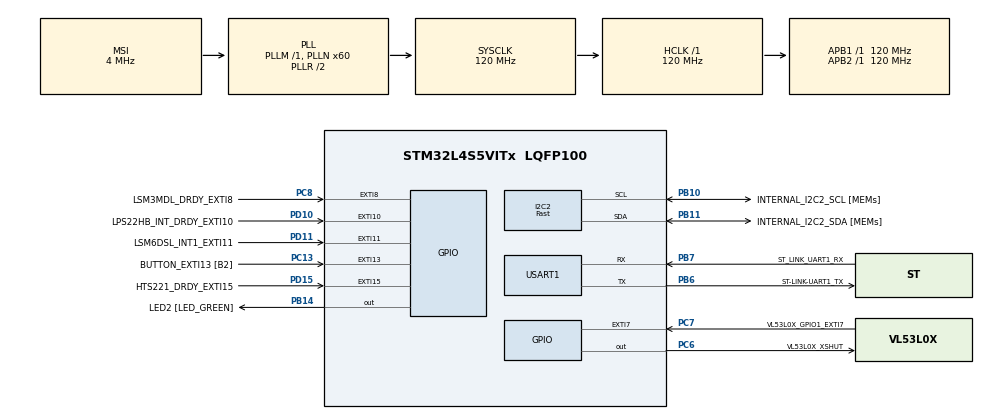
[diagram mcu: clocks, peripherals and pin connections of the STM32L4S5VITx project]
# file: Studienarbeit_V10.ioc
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Dma.I2C2_RX.0.Direction=DMA_PERIPH_TO_MEMORY
Dma.I2C2_RX.0.EventEnable=DISABLE
Dma.I2C2_RX.0.Instance=DMA1_Channel1
Dma.I2C2_RX.0.MemDataAlignment=DMA_MDATAALIGN_BYTE
Dma.I2C2_RX.0.MemInc=DMA_MINC_ENABLE
Dma.I2C2_RX.0.Mode=DMA_NORMAL
Dma.I2C2_RX.0.PeriphDataAlignment=DMA_PDATAALIGN_BYTE
Dma.I2C2_RX.0.PeriphInc=DMA_PINC_DISABLE
Dma.I2C2_RX.0.Polarity=HAL_DMAMUX_REQUEST_GEN_RISING
Dma.I2C2_RX.0.Priority=DMA_PRIORITY_LOW
Dma.I2C2_RX.0.RequestNumber=1
Dma.I2C2_RX.0.SignalID=NONE
Dma.I2C2_RX.0.SyncEnable=DISABLE
Dma.I2C2_RX.0.SyncPolarity=HAL_DMAMUX_SYNC_NO_EVENT
Dma.I2C2_RX.0.SyncRequestNumber=1
Dma.I2C2_RX.0.SyncSignalID=NONE
Dma.I2C2_TX.1.Direction=DMA_MEMORY_TO_PERIPH
Dma.I2C2_TX.1.EventEnable=DISABLE
Dma.I2C2_TX.1.Instance=DMA1_Channel2
Dma.I2C2_TX.1.MemDataAlignment=DMA_MDATAALIGN_BYTE
Dma.I2C2_TX.1.MemInc=DMA_MINC_ENABLE
Dma.I2C2_TX.1.Mode=DMA_NORMAL
Dma.I2C2_TX.1.PeriphDataAlignment=DMA_PDATAALIGN_BYTE
Dma.I2C2_TX.1.PeriphInc=DMA_PINC_DISABLE
Dma.I2C2_TX.1.Polarity=HAL_DMAMUX_REQUEST_GEN_RISING
Dma.I2C2_TX.1.Priority=DMA_PRIORITY_LOW
Dma.I2C2_TX.1.RequestNumber=1
Dma.I2C2_TX.1.SignalID=NONE
Dma.I2C2_TX.1.SyncEnable=DISABLE
Dma.I2C2_TX.1.SyncPolarity=HAL_DMAMUX_SYNC_NO_EVENT
Dma.I2C2_TX.1.SyncRequestNumber=1
Dma.I2C2_TX.1.SyncSignalID=NONE
Dma.Request0=I2C2_RX
Dma.Request1=I2C2_TX
Dma.Request2=USART1_RX
Dma.Request3=USART1_TX
Dma.USART1_RX.2.Direction=DMA_PERIPH_TO_MEMORY
Dma.USART1_RX.2.EventEnable=DISABLE
Dma.USART1_RX.2.Instance=DMA1_Channel3
Dma.USART1_RX.2.MemDataAlignment=DMA_MDATAALIGN_BYTE
Dma.USART1_RX.2.MemInc=DMA_MINC_ENABLE
Dma.USART1_RX.2.Mode=DMA_NORMAL
Dma.USART1_RX.2.PeriphDataAlignment=DMA_PDATAALIGN_BYTE
Dma.USART1_RX.2.PeriphInc=DMA_PINC_DISABLE
Dma.USART1_RX.2.Polarity=HAL_DMAMUX_REQUEST_GEN_RISING
Dma.USART1_RX.2.Priority=DMA_PRIORITY_LOW
Dma.USART1_RX.2.RequestNumber=1
Dma.USART1_RX.2.SignalID=NONE
Dma.USART1_RX.2.SyncEnable=DISABLE
Dma.USART1_RX.2.SyncPolarity=HAL_DMAMUX_SYNC_NO_EVENT
Dma.USART1_RX.2.SyncRequestNumber=1
Dma.USART1_RX.2.SyncSignalID=NONE
Dma.USART1_TX.3.Direction=DMA_MEMORY_TO_PERIPH
Dma.USART1_TX.3.EventEnable=DISABLE
Dma.USART1_TX.3.Instance=DMA1_Channel4
Dma.USART1_TX.3.MemDataAlignment=DMA_MDATAALIGN_BYTE
Dma.USART1_TX.3.MemInc=DMA_MINC_ENABLE
Dma.USART1_TX.3.Mode=DMA_NORMAL
Dma.USART1_TX.3.PeriphDataAlignment=DMA_PDATAALIGN_BYTE
Dma.USART1_TX.3.PeriphInc=DMA_PINC_DISABLE
Dma.USART1_TX.3.Polarity=HAL_DMAMUX_REQUEST_GEN_RISING
Dma.USART1_TX.3.Priority=DMA_PRIORITY_LOW
Dma.USART1_TX.3.RequestNumber=1
Dma.USART1_TX.3.SignalID=NONE
Dma.USART1_TX.3.SyncEnable=DISABLE
Dma.USART1_TX.3.SyncPolarity=HAL_DMAMUX_SYNC_NO_EVENT
Dma.USART1_TX.3.SyncRequestNumber=1
Dma.USART1_TX.3.SyncSignalID=NONE
FREERTOS.BinarySemaphores01=I2C2available,Dynamic,NULL,Available;UART1available,Dynamic,NULL,Available
FREERTOS.Tasks01=defaultTask,24,128,StartDefaultTask,Default,NULL,Dynamic,NULL,NULL;IMUTask,24,256,IMU_Task,Default,NULL,Dynamic,NULL,NULL;MagnetoTask,24,256,Magneto_Task,Default,NULL,Dynamic,NULL,NULL;ToFTask,24,256,ToF_Task,Default,NULL,Dynamic,NULL,NULL;BaroTask,24,256,Baro_Task,Default,NULL,Dynamic,NULL,NULL;HumidityTask,24,256,Humidity_Task,Default,NULL,Dynamic,NULL,NULL;InitTask,25,512,Init_Task,Default,NULL,Dynamic,NULL,NULL;DataTransmitTas,22,128,Data_Transmit_Task,Default,NULL,Dynamic,NULL,NULL;DataFilterTask,23,256,Data_Filter_Task,Default,NULL,Dynamic,NULL,NULL
FREERTOS.configENABLE_FPU=1
FREERTOS.configGENERATE_RUN_TIME_STATS=1
FREERTOS.configTOTAL_HEAP_SIZE=11000
FREERTOS.configUSE_NEWLIB_REENTRANT=1
FREERTOS.configUSE_STATS_FORMATTING_FUNCTIONS=1
I2C2.I2C_Speed_Mode=I2C_Fast
I2C2.Timing=0x10B21F61
Mcu.Family=STM32L4
Mcu.Name=STM32L4S5VITx
Mcu.Package=LQFP100
NVIC.DMA1_Channel1_IRQn=true\:7\:0\:true\:false\:true\:true\:false\:true\:true
NVIC.DMA1_Channel2_IRQn=true\:8\:0\:true\:false\:true\:true\:false\:true\:true
NVIC.DMA1_Channel3_IRQn=true\:11\:0\:true\:false\:true\:true\:false\:true\:true
NVIC.DMA1_Channel4_IRQn=true\:11\:0\:true\:false\:true\:true\:false\:true\:true
NVIC.EXTI15_10_IRQn=true\:10\:0\:true\:false\:true\:true\:true\:true\:false
NVIC.EXTI9_5_IRQn=true\:10\:0\:true\:false\:true\:true\:true\:true\:false
NVIC.I2C2_EV_IRQn=true\:6\:0\:true\:false\:true\:true\:true\:true\:true
NVIC.PriorityGroup=NVIC_PRIORITYGROUP_4
NVIC.TIM1_TRG_COM_TIM17_IRQn=true\:15\:0\:false\:false\:true\:false\:false\:true\:true
NVIC.TimeBase=TIM1_TRG_COM_TIM17_IRQn
NVIC.TimeBaseIP=TIM17
NVIC.USART1_IRQn=true\:6\:0\:true\:false\:true\:true\:true\:true\:true
PA13\ (JTMS/SWDIO).GPIO_Label=SYS_JTMS_SWDIO
PA13\ (JTMS/SWDIO).Mode=Serial_Wire
PA13\ (JTMS/SWDIO).Signal=SYS_JTMS-SWDIO
PA14\ (JTCK/SWCLK).GPIO_Label=SYS_JTCK_SWCLK
PA14\ (JTCK/SWCLK).Mode=Serial_Wire
PA14\ (JTCK/SWCLK).Signal=SYS_JTCK-SWCLK
PB10.GPIO_Label=INTERNAL_I2C2_SCL [MEMs]
PB10.GPIO_Mode=GPIO_MODE_AF_OD
PB10.GPIO_Pu=GPIO_PULLUP
PB10.GPIO_Speed=GPIO_SPEED_FREQ_VERY_HIGH
PB10.Mode=I2C
PB10.Signal=I2C2_SCL
PB11.GPIO_Label=INTERNAL_I2C2_SDA [MEMs]
PB11.GPIO_Mode=GPIO_MODE_AF_OD
PB11.GPIO_Pu=GPIO_PULLUP
PB11.GPIO_Speed=GPIO_SPEED_FREQ_VERY_HIGH
PB11.Mode=I2C
PB11.Signal=I2C2_SDA
PB14.GPIO_Label=LED2 [LED_GREEN]
PB14.GPIO_ModeDefaultOutputPP=GPIO_MODE_OUTPUT_PP
PB14.GPIO_PuPd=GPIO_NOPULL
PB14.GPIO_Speed=GPIO_SPEED_FREQ_LOW
PB14.PinState=GPIO_PIN_RESET
PB14.Signal=GPIO_Output
PB3\ (JTDO/TRACESWO).GPIO_Label=SYS_JTD0_SWO
PB3\ (JTDO/TRACESWO).Signal=SYS_JTDO-SWO
PB6.GPIO_FM6=__NULL
PB6.GPIO_Label=ST-LINK-UART1_TX
PB6.GPIO_ModeDefaultPP=GPIO_MODE_AF_PP
PB6.GPIO_PuPd=GPIO_NOPULL
PB6.GPIO_Speed=GPIO_SPEED_FREQ_VERY_HIGH
PB6.Mode=Asynchronous
PB6.Signal=USART1_TX
PB7.GPIO_FM7=__NULL
PB7.GPIO_Label=ST_LINK_UART1_RX
PB7.GPIO_ModeDefaultPP=GPIO_MODE_AF_PP
PB7.GPIO_PuPd=GPIO_NOPULL
PB7.GPIO_Speed=GPIO_SPEED_FREQ_VERY_HIGH
PB7.Mode=Asynchronous
PB7.Signal=USART1_RX
PC13.GPIO_Label=BUTTON_EXTI13 [B2]
PC13.GPIO_ModeDefaultEXTI=GPIO_MODE_IT_RISING
PC13.GPIO_PuPd=GPIO_NOPULL
PC13.Signal=GPXTI13
PC14-OSC32_IN\ (PC14).Mode=LSE-External-Oscillator
PC14-OSC32_IN\ (PC14).Signal=RCC_OSC32_IN
PC15-OSC32_OUT\ (PC15).Mode=LSE-External-Oscillator
PC15-OSC32_OUT\ (PC15).Signal=RCC_OSC32_OUT
PC6.GPIO_Label=VL53L0X_XSHUT
PC6.GPIO_ModeDefaultOutputPP=GPIO_MODE_OUTPUT_PP
PC6.GPIO_PuPd=GPIO_NOPULL
PC6.GPIO_Speed=GPIO_SPEED_FREQ_LOW
PC6.PinState=GPIO_PIN_RESET
PC6.Signal=GPIO_Output
PC7.GPIO_Label=VL53L0X_GPIO1_EXTI7
PC7.GPIO_ModeDefaultEXTI=GPIO_MODE_IT_FALLING
PC7.GPIO_PuPd=GPIO_NOPULL
PC7.Signal=GPXTI7
PC8.GPIO_Label=LSM3MDL_DRDY_EXTI8
PC8.GPIO_ModeDefaultEXTI=GPIO_MODE_IT_RISING
PC8.GPIO_PuPd=GPIO_NOPULL
PC8.Signal=GPXTI8
PD10.GPIO_Label=LPS22HB_INT_DRDY_EXTI10
PD10.GPIO_ModeDefaultEXTI=GPIO_MODE_IT_RISING
PD10.GPIO_PuPd=GPIO_NOPULL
PD10.Signal=GPXTI10
PD11.GPIO_Label=LSM6DSL_INT1_EXTI11
PD11.GPIO_ModeDefaultEXTI=GPIO_MODE_IT_RISING
PD11.GPIO_PuPd=GPIO_NOPULL
PD11.Signal=GPXTI11
PD15.GPIO_Label=HTS221_DRDY_EXTI15
PD15.GPIO_ModeDefaultEXTI=GPIO_MODE_IT_RISING
PD15.GPIO_PuPd=GPIO_NOPULL
PD15.Signal=GPXTI15
PH0-OSC_IN\ (PH0).Mode=HSE-External-Oscillator
PH0-OSC_IN\ (PH0).Signal=RCC_OSC_IN
PH1-OSC_OUT\ (PH1).Mode=HSE-External-Oscillator
PH1-OSC_OUT\ (PH1).Signal=RCC_OSC_OUT
ProjectManager.HeapSize=0x200
ProjectManager.StackSize=0x400
ProjectManager.TargetToolchain=STM32CubeIDE
RCC.ADCFreq_Value=48000000
RCC.AHBFreq_Value=120000000
RCC.APB1Freq_Value=120000000
RCC.APB1TimFreq_Value=120000000
RCC.APB2Freq_Value=120000000
RCC.APB2TimFreq_Value=120000000
RCC.CortexFreq_Value=120000000
RCC.HCLKFreq_Value=120000000
RCC.HSE_VALUE=8000000
RCC.HSI48_VALUE=48000000
RCC.HSI_VALUE=16000000
RCC.MSI_VALUE=4000000
RCC.PLLN=60
RCC.PLLSAI1N=24
RCC.SYSCLKFreq_VALUE=120000000
RCC.SYSCLKSource=RCC_SYSCLKSOURCE_PLLCLK
RCC.USBFreq_Value=48000000
RCC.VCOOutputFreq_Value=240000000
USART1.VirtualMode-Asynchronous=VM_ASYNC
VP_FREERTOS_VS_CMSIS_V2.Mode=CMSIS_V2
VP_SYS_VS_tim17.Mode=TIM17
board=B-L4S5I-IOT01A

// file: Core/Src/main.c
/* USER CODE BEGIN Header */
/**
 ******************************************************************************
 * @file           : main.c
 * @brief          : Main program body
 ******************************************************************************
 * @attention
 *
 * Copyright (c) 2023 STMicroelectronics.
 * All rights reserved.
 *
 * This software is licensed under terms that can be found in the LICENSE file
 * in the root directory of this software component.
 * If no LICENSE file comes with this software, it is provided AS-IS.
 *
 ******************************************************************************
 */
/* USER CODE END Header */
#include "main.h"
#include "cmsis_os.h"

/* USER CODE BEGIN Includes */
#include <stdbool.h>
#include <stdio.h>
#include <string.h>
#include <math.h>

#include "../Sensors/AccelerationSensor/lsm6dsl.h"
#include "../Sensors/AirPressureSensor/lps22hb.h"
#include "../Sensors/HumiditySensor/hts221.h"
#include "../Sensors/MagnetometerSensor/lis3mdl.h"
#include "../Sensors/ToFSensor/vl53l0x.h"
#include "../Filter/filter.h"

/* USER CODE END Includes */

I2C_HandleTypeDef hi2c2;
DMA_HandleTypeDef hdma_i2c2_rx;
DMA_HandleTypeDef hdma_i2c2_tx;

UART_HandleTypeDef huart1;
DMA_HandleTypeDef hdma_usart1_rx;
DMA_HandleTypeDef hdma_usart1_tx;

#ifdef DEBUG
volatile int debug_count_main = 0;  // <- sichtbar im Debugger, verändert sich im Code
#endif

/* Definitions for defaultTask */
osThreadId_t defaultTaskHandle;
const osThreadAttr_t defaultTask_attributes = {
  .name = "defaultTask",
  .stack_size = 128 * 4,
  .priority = (osPriority_t) osPriorityNormal,
};
/* Definitions for IMUTask */
osThreadId_t IMUTaskHandle;
const osThreadAttr_t IMUTask_attributes = {
  .name = "IMUTask",
  .stack_size = 256 * 4,
  .priority = (osPriority_t) osPriorityNormal,
};
/* Definitions for MagnetoTask */
osThreadId_t MagnetoTaskHandle;
const osThreadAttr_t MagnetoTask_attributes = {
  .name = "MagnetoTask",
  .stack_size = 256 * 4,
  .priority = (osPriority_t) osPriorityNormal,
};
/* Definitions for ToFTask */
osThreadId_t ToFTaskHandle;
const osThreadAttr_t ToFTask_attributes = {
  .name = "ToFTask",
  .stack_size = 256 * 4,
  .priority = (osPriority_t) osPriorityNormal,
};
/* Definitions for BaroTask */
osThreadId_t BaroTaskHandle;
const osThreadAttr_t BaroTask_attributes = {
  .name = "BaroTask",
  .stack_size = 256 * 4,
  .priority = (osPriority_t) osPriorityNormal,
};
/* Definitions for HumidityTask */
osThreadId_t HumidityTaskHandle;
const osThreadAttr_t HumidityTask_attributes = {
  .name = "HumidityTask",
  .stack_size = 256 * 4,
  .priority = (osPriority_t) osPriorityNormal,
};
/* Definitions for InitTask */
osThreadId_t InitTaskHandle;
const osThreadAttr_t InitTask_attributes = {
  .name = "InitTask",
  .stack_size = 512 * 4,
  .priority = (osPriority_t) osPriorityNormal1,
};
/* Definitions for DataTransmitTas */
osThreadId_t DataTransmitTasHandle;
const osThreadAttr_t DataTransmitTas_attributes = {
  .name = "DataTransmitTas",
  .stack_size = 128 * 4,
  .priority = (osPriority_t) osPriorityBelowNormal6,
};
/* Definitions for DataFilterTask */
osThreadId_t DataFilterTaskHandle;
const osThreadAttr_t DataFilterTask_attributes = {
  .name = "DataFilterTask",
  .stack_size = 256 * 4,
  .priority = (osPriority_t) osPriorityBelowNormal7,
};
/* Definitions for I2C2available */
osSemaphoreId_t I2C2availableHandle;
const osSemaphoreAttr_t I2C2available_attributes = {
  .name = "I2C2available"
};
/* Definitions for UART1available */
osSemaphoreId_t UART1availableHandle;
const osSemaphoreAttr_t UART1available_attributes = {
  .name = "UART1available"
};
/* USER CODE BEGIN PV */
uint8_t ucHeap[ configTOTAL_HEAP_SIZE ] __attribute__((section(".FreeRTOSHeap")));

TRANSMIT_DATA transmit_data ={.delimiter = NAN};

extern LSM6DSL_VALUES lsm6dsl_values;
extern LIS3MDL_VALUES lis3mdl_values;
/* USER CODE END PV */

void SystemClock_Config(void);
static void MX_GPIO_Init(void);
static void MX_DMA_Init(void);
static void MX_I2C2_Init(void);
static void MX_USART1_UART_Init(void);
void StartDefaultTask(void *argument);
void IMU_Task(void *argument);
void Magneto_Task(void *argument);
void ToF_Task(void *argument);
void Baro_Task(void *argument);
void Humidity_Task(void *argument);
void Init_Task(void *argument);
void Data_Transmit_Task(void *argument);
void Data_Filter_Task(void *argument);

int main(void)
{

  /* MCU Configuration--------------------------------------------------------*/

  /* Reset of all peripherals, Initializes the Flash interface and the Systick. */
  HAL_Init();

  /* Configure the system clock */
  SystemClock_Config();

  /* Initialize all configured peripherals */
  MX_GPIO_Init();
  MX_DMA_Init();
  MX_I2C2_Init();
  MX_USART1_UART_Init();

  /* Init scheduler */
  osKernelInitialize();

  /* Create the semaphores(s) */
  /* creation of I2C2available */
  I2C2availableHandle = osSemaphoreNew(1, 1, &I2C2available_attributes);

  /* creation of UART1available */
  UART1availableHandle = osSemaphoreNew(1, 1, &UART1available_attributes);

  /* Create the thread(s) */
  /* creation of defaultTask */
  defaultTaskHandle = osThreadNew(StartDefaultTask, NULL, &defaultTask_attributes);

  /* creation of IMUTask */
  IMUTaskHandle = osThreadNew(IMU_Task, NULL, &IMUTask_attributes);

  /* creation of MagnetoTask */
  MagnetoTaskHandle = osThreadNew(Magneto_Task, NULL, &MagnetoTask_attributes);

  /* creation of ToFTask */
  ToFTaskHandle = osThreadNew(ToF_Task, NULL, &ToFTask_attributes);

  /* creation of BaroTask */
  BaroTaskHandle = osThreadNew(Baro_Task, NULL, &BaroTask_attributes);

  /* creation of HumidityTask */
  HumidityTaskHandle = osThreadNew(Humidity_Task, NULL, &HumidityTask_attributes);

  /* creation of InitTask */
  InitTaskHandle = osThreadNew(Init_Task, NULL, &InitTask_attributes);

  /* creation of DataTransmitTas */
  DataTransmitTasHandle = osThreadNew(Data_Transmit_Task, NULL, &DataTransmitTas_attributes);

  /* creation of DataFilterTask */
  DataFilterTaskHandle = osThreadNew(Data_Filter_Task, NULL, &DataFilterTask_attributes);

  /* USER CODE BEGIN RTOS_THREADS */
  /* terminate the default Task because it just exists because of the STM23CubeIDE configuration set it mandatory - that is not needed because
   * a idle task is created by FreeRTOS anyway   */
  osThreadTerminate(defaultTaskHandle);
  /* USER CODE END RTOS_THREADS */

  /* USER CODE BEGIN RTOS_EVENTS */
  SEGGER_SYSVIEW_Conf();
  SEGGER_SYSVIEW_Start();
  SEGGER_SYSVIEW_PrintfHost("START");
  /* USER CODE END RTOS_EVENTS */

  /* Start scheduler */
  osKernelStart();

  /* We should never get here as control is now taken by the scheduler */

  /* Infinite loop */
	  while (1)
	  {

	  }
}

void SystemClock_Config(void)
{
  RCC_OscInitTypeDef RCC_OscInitStruct = {0};
  RCC_ClkInitTypeDef RCC_ClkInitStruct = {0};

  /** Configure the main internal regulator output voltage
  */
  if (HAL_PWREx_ControlVoltageScaling(PWR_REGULATOR_VOLTAGE_SCALE1_BOOST) != HAL_OK)
  {
    Error_Handler();
  }

  /** Initializes the RCC Oscillators according to the specified parameters
  * in the RCC_OscInitTypeDef structure.
  */
  RCC_OscInitStruct.OscillatorType = RCC_OSCILLATORTYPE_MSI;
  RCC_OscInitStruct.MSIState = RCC_MSI_ON;
  RCC_OscInitStruct.MSICalibrationValue = 0;
  RCC_OscInitStruct.MSIClockRange = RCC_MSIRANGE_6;
  RCC_OscInitStruct.PLL.PLLState = RCC_PLL_ON;
  RCC_OscInitStruct.PLL.PLLSource = RCC_PLLSOURCE_MSI;
  RCC_OscInitStruct.PLL.PLLM = 1;
  RCC_OscInitStruct.PLL.PLLN = 60;
  RCC_OscInitStruct.PLL.PLLP = RCC_PLLP_DIV2;
  RCC_OscInitStruct.PLL.PLLQ = RCC_PLLQ_DIV2;
  RCC_OscInitStruct.PLL.PLLR = RCC_PLLR_DIV2;
  if (HAL_RCC_OscConfig(&RCC_OscInitStruct) != HAL_OK)
  {
    Error_Handler();
  }

  /** Initializes the CPU, AHB and APB buses clocks
  */
  RCC_ClkInitStruct.ClockType = RCC_CLOCKTYPE_HCLK|RCC_CLOCKTYPE_SYSCLK
                              |RCC_CLOCKTYPE_PCLK1|RCC_CLOCKTYPE_PCLK2;
  RCC_ClkInitStruct.SYSCLKSource = RCC_SYSCLKSOURCE_PLLCLK;
  RCC_ClkInitStruct.AHBCLKDivider = RCC_SYSCLK_DIV1;
  RCC_ClkInitStruct.APB1CLKDivider = RCC_HCLK_DIV1;
  RCC_ClkInitStruct.APB2CLKDivider = RCC_HCLK_DIV1;

  if (HAL_RCC_ClockConfig(&RCC_ClkInitStruct, FLASH_LATENCY_5) != HAL_OK)
  {
    Error_Handler();
  }
}

static void MX_I2C2_Init(void)
{

  hi2c2.Instance = I2C2;
  hi2c2.Init.Timing = 0x10B21F61;
  hi2c2.Init.OwnAddress1 = 0;
  hi2c2.Init.AddressingMode = I2C_ADDRESSINGMODE_7BIT;
  hi2c2.Init.DualAddressMode = I2C_DUALADDRESS_DISABLE;
  hi2c2.Init.OwnAddress2 = 0;
  hi2c2.Init.OwnAddress2Masks = I2C_OA2_NOMASK;
  hi2c2.Init.GeneralCallMode = I2C_GENERALCALL_DISABLE;
  hi2c2.Init.NoStretchMode = I2C_NOSTRETCH_DISABLE;
  if (HAL_I2C_Init(&hi2c2) != HAL_OK)
  {
    Error_Handler();
  }

  /** Configure Analogue filter
  */
  if (HAL_I2CEx_ConfigAnalogFilter(&hi2c2, I2C_ANALOGFILTER_ENABLE) != HAL_OK)
  {
    Error_Handler();
  }

  /** Configure Digital filter
  */
  if (HAL_I2CEx_ConfigDigitalFilter(&hi2c2, 0) != HAL_OK)
  {
    Error_Handler();
  }

}

static void MX_USART1_UART_Init(void)
{

  huart1.Instance = USART1;
  huart1.Init.BaudRate = 115200;
  huart1.Init.WordLength = UART_WORDLENGTH_8B;
  huart1.Init.StopBits = UART_STOPBITS_1;
  huart1.Init.Parity = UART_PARITY_NONE;
  huart1.Init.Mode = UART_MODE_TX_RX;
  huart1.Init.HwFlowCtl = UART_HWCONTROL_NONE;
  huart1.Init.OverSampling = UART_OVERSAMPLING_16;
  huart1.Init.OneBitSampling = UART_ONE_BIT_SAMPLE_DISABLE;
  huart1.Init.ClockPrescaler = UART_PRESCALER_DIV1;
  huart1.AdvancedInit.AdvFeatureInit = UART_ADVFEATURE_NO_INIT;
  if (HAL_UART_Init(&huart1) != HAL_OK)
  {
    Error_Handler();
  }
  if (HAL_UARTEx_SetTxFifoThreshold(&huart1, UART_TXFIFO_THRESHOLD_1_8) != HAL_OK)
  {
    Error_Handler();
  }
  if (HAL_UARTEx_SetRxFifoThreshold(&huart1, UART_RXFIFO_THRESHOLD_1_8) != HAL_OK)
  {
    Error_Handler();
  }
  if (HAL_UARTEx_DisableFifoMode(&huart1) != HAL_OK)
  {
    Error_Handler();
  }

}

static void MX_DMA_Init(void)
{

  /* DMA controller clock enable */
  __HAL_RCC_DMAMUX1_CLK_ENABLE();
  __HAL_RCC_DMA1_CLK_ENABLE();

  /* DMA interrupt init */
  /* DMA1_Channel1_IRQn interrupt configuration */
  HAL_NVIC_SetPriority(DMA1_Channel1_IRQn, 7, 0);
  HAL_NVIC_EnableIRQ(DMA1_Channel1_IRQn);
  /* DMA1_Channel2_IRQn interrupt configuration */
  HAL_NVIC_SetPriority(DMA1_Channel2_IRQn, 8, 0);
  HAL_NVIC_EnableIRQ(DMA1_Channel2_IRQn);
  /* DMA1_Channel3_IRQn interrupt configuration */
  HAL_NVIC_SetPriority(DMA1_Channel3_IRQn, 11, 0);
  HAL_NVIC_EnableIRQ(DMA1_Channel3_IRQn);
  /* DMA1_Channel4_IRQn interrupt configuration */
  HAL_NVIC_SetPriority(DMA1_Channel4_IRQn, 11, 0);
  HAL_NVIC_EnableIRQ(DMA1_Channel4_IRQn);

}

static void MX_GPIO_Init(void)
{
  GPIO_InitTypeDef GPIO_InitStruct = {0};

  /* GPIO Ports Clock Enable */
  __HAL_RCC_GPIOC_CLK_ENABLE();
  __HAL_RCC_GPIOH_CLK_ENABLE();
  __HAL_RCC_GPIOB_CLK_ENABLE();
  __HAL_RCC_GPIOD_CLK_ENABLE();
  __HAL_RCC_GPIOA_CLK_ENABLE();

  /*Configure GPIO pin Output Level */
  HAL_GPIO_WritePin(LED2_GPIO_Port, LED2_Pin, GPIO_PIN_RESET);

  /*Configure GPIO pin Output Level */
  HAL_GPIO_WritePin(VL53L0X_XSHUT_GPIO_Port, VL53L0X_XSHUT_Pin, GPIO_PIN_RESET);

  /*Configure GPIO pins : BUTTON_EXTI13_Pin LSM3MDL_DRDY_EXTI8_Pin */
  GPIO_InitStruct.Pin = BUTTON_EXTI13_Pin|LSM3MDL_DRDY_EXTI8_Pin;
  GPIO_InitStruct.Mode = GPIO_MODE_IT_RISING;
  GPIO_InitStruct.Pull = GPIO_NOPULL;
  HAL_GPIO_Init(GPIOC, &GPIO_InitStruct);

  /*Configure GPIO pin : LED2_Pin */
  GPIO_InitStruct.Pin = LED2_Pin;
  GPIO_InitStruct.Mode = GPIO_MODE_OUTPUT_PP;
  GPIO_InitStruct.Pull = GPIO_NOPULL;
  GPIO_InitStruct.Speed = GPIO_SPEED_FREQ_LOW;
  HAL_GPIO_Init(LED2_GPIO_Port, &GPIO_InitStruct);

  /*Configure GPIO pins : LPS22HB_INT_DRDY_EXTI10_Pin LSM6DSL_INT1_EXTI11_Pin HTS221_DRDY_EXTI15_Pin */
  GPIO_InitStruct.Pin = LPS22HB_INT_DRDY_EXTI10_Pin|LSM6DSL_INT1_EXTI11_Pin|HTS221_DRDY_EXTI15_Pin;
  GPIO_InitStruct.Mode = GPIO_MODE_IT_RISING;
  GPIO_InitStruct.Pull = GPIO_NOPULL;
  HAL_GPIO_Init(GPIOD, &GPIO_InitStruct);

  /*Configure GPIO pin : VL53L0X_XSHUT_Pin */
  GPIO_InitStruct.Pin = VL53L0X_XSHUT_Pin;
  GPIO_InitStruct.Mode = GPIO_MODE_OUTPUT_PP;
  GPIO_InitStruct.Pull = GPIO_NOPULL;
  GPIO_InitStruct.Speed = GPIO_SPEED_FREQ_LOW;
  HAL_GPIO_Init(VL53L0X_XSHUT_GPIO_Port, &GPIO_InitStruct);

  /*Configure GPIO pin : VL53L0X_GPIO1_EXTI7_Pin */
  GPIO_InitStruct.Pin = VL53L0X_GPIO1_EXTI7_Pin;
  GPIO_InitStruct.Mode = GPIO_MODE_IT_FALLING;
  GPIO_InitStruct.Pull = GPIO_NOPULL;
  HAL_GPIO_Init(VL53L0X_GPIO1_EXTI7_GPIO_Port, &GPIO_InitStruct);

  /* EXTI interrupt init*/
  HAL_NVIC_SetPriority(EXTI9_5_IRQn, 10, 0);
  HAL_NVIC_SetPriority(EXTI15_10_IRQn, 10, 0);

}

void StartDefaultTask(void *argument)
{
  for(;;)
  {
    osDelay(1);
  }
}

void IMU_Task(void *argument)
{
  /* USER CODE BEGIN IMU_Task */
  HAL_StatusTypeDef HAL_status = HAL_OK;
  /* Infinite loop */
  for(;;)
  {
	  // Auf Aktivierungsflag warten
	  osThreadFlagsWait(IMU_SENSOR_THREAD_ACTIVATE_FLAG, osFlagsWaitAll, osWaitForever);
	  osThreadFlagsSet(DataFilterTaskHandle, RAW_IMU_DATA_READY_FLAG | 0x1);

	  // I2C-Bus sichern
	  osSemaphoreAcquire(I2C2availableHandle, osWaitForever);

	  // Prüfen, ob neue IMU-Daten vorliegen
	  HAL_status = LSM6DSL_data_ready();
	  osSemaphoreRelease(I2C2availableHandle);

	  // Flagge: neue Sensorwerte vorhanden
	  osThreadFlagsSet(DataFilterTaskHandle, RAW_IMU_DATA_READY_FLAG);
  }
  /* USER CODE END IMU_Task */
}

void Magneto_Task(void *argument)
{
  /* USER CODE BEGIN Magneto_Task */
  HAL_StatusTypeDef HAL_status = HAL_OK;
  /* Infinite loop */
  for(;;)
  {
	  // Auf Aktivierungsflag warten
	  osThreadFlagsWait(MAG_SENSOR_THREAD_ACTIVATE_FLAG, osFlagsWaitAll, osWaitForever);

	  // I2C-Bus sichern
	  osSemaphoreAcquire(I2C2availableHandle, osWaitForever);

	  // Prüfen, ob neue Magnetometer-Daten vorliegen
	  HAL_status = LIS3MDL_data_ready();
	  osSemaphoreRelease(I2C2availableHandle);

	  // Flagge: neue Sensorwerte vorhanden
	  osThreadFlagsSet(DataFilterTaskHandle, RAW_MAG_DATA_READY_FLAG);
  }
  /* USER CODE END Magneto_Task */
}

void ToF_Task(void *argument)
{
  /* USER CODE BEGIN ToF_Task */
  HAL_StatusTypeDef HAL_status = HAL_OK;
  /* Infinite loop */
  for(;;)
  {
	  // Auf Aktivierungsflag warten
	  osThreadFlagsWait(TOF_SENSOR_THREAD_ACTIVATE_FLAG, osFlagsWaitAll, osWaitForever);

	  // I2C-Bus sichern
	  osSemaphoreAcquire(I2C2availableHandle, osWaitForever);

	  // Prüfen, ob neue Magnetometer-Daten vorliegen
	  HAL_status = VL53L0X_data_ready();
	  osSemaphoreRelease(I2C2availableHandle);
  }
  /* USER CODE END ToF_Task */
}

void Baro_Task(void *argument)
{
  /* USER CODE BEGIN Baro_Task */
  HAL_StatusTypeDef HAL_status = HAL_OK;
  /* Infinite loop */
  for(;;)
  {
	  // Auf Aktivierungsflag warten
	  osThreadFlagsWait(BARO_SENSOR_THREAD_ACTIVATE_FLAG, osFlagsWaitAll, osWaitForever);

	  // I2C-Bus sichern
	  osSemaphoreAcquire(I2C2availableHandle, osWaitForever);

	  // Prüfen, ob neue Magnetometer-Daten vorliegen
	  HAL_status = LPS22HB_data_ready();
	  osSemaphoreRelease(I2C2availableHandle);
  }
  /* USER CODE END Baro_Task */
}

void Humidity_Task(void *argument)
{
  /* USER CODE BEGIN Humidity_Task */
  HAL_StatusTypeDef HAL_status = HAL_OK;
  /* Infinite loop */
  for(;;)
  {
	  // Auf Aktivierungsflag warten
	  osThreadFlagsWait(HUMIDITY_SENSOR_THREAD_ACTIVATE_FLAG, osFlagsWaitAll, osWaitForever);

	  // I2C-Bus sichern
	  osSemaphoreAcquire(I2C2availableHandle, osWaitForever);
	  // Prüfen, ob neue Magnetometer-Daten vorliegen
	  HAL_status = HTS221_data_ready();
	  osSemaphoreRelease(I2C2availableHandle);
  }
  /* USER CODE END Humidity_Task */
}

void Init_Task(void *argument)
{
  /* USER CODE BEGIN Init_Task */
  vl53l0x_initialize(); /* ToF */
  HTS221_initialize();  /* Humidity */
  LPS22HB_initialize(); /* Barometer */
  LSM6DSL_initialize(); /* IMU */
  LIS3MDL_initialize(); /* Magnetometer */

  /* initialisation mainly done -> clear interrupts in case they already are active and enable them */
  HAL_NVIC_ClearPendingIRQ(EXTI15_10_IRQn);
  HAL_NVIC_ClearPendingIRQ(EXTI9_5_IRQn);
  HAL_NVIC_EnableIRQ(EXTI9_5_IRQn);
  HAL_NVIC_EnableIRQ(EXTI15_10_IRQn);

  /* Initialise Filter */
  LSM6DSL_Filter_Init();
  LIS3MDL_Filter_Init();

  /* initialisation finally done --> terminate this task */
  osThreadTerminate(InitTaskHandle);

  /* USER CODE END Init_Task */
}

void Data_Transmit_Task(void *argument)
{
  /* USER CODE BEGIN Data_Transmit_Task */
  /* Infinite loop */
  for(;;)
      {
		osThreadFlagsWait(FILTERED_DATA_READY_FLAG, osFlagsWaitAny, osWaitForever);
		SEGGER_SYSVIEW_PrintfHost("DataTransmit");
		osSemaphoreAcquire(UART1availableHandle, osWaitForever);

		transmit_data.delimiter = 0xDEADC0DE;

		// Rohdaten kopieren
		transmit_data.acc_x = lsm6dsl_values.acc_x;
		transmit_data.acc_y = lsm6dsl_values.acc_y;
		transmit_data.acc_z = lsm6dsl_values.acc_z;
		transmit_data.gyro_x = lsm6dsl_values.gyro_x;
		transmit_data.gyro_y = lsm6dsl_values.gyro_y;
		transmit_data.gyro_z = lsm6dsl_values.gyro_z;

		transmit_data.mag_x = lis3mdl_values.x;
		transmit_data.mag_y = lis3mdl_values.y;
		transmit_data.mag_z = lis3mdl_values.z;

		// Gefilterte Werte kopieren
		transmit_data.acc_x_filtered = lsm6dsl_filtered_values.acc_x;
		transmit_data.acc_y_filtered = lsm6dsl_filtered_values.acc_y;
		transmit_data.acc_z_filtered = lsm6dsl_filtered_values.acc_z;
		transmit_data.gyro_x_filtered = lsm6dsl_filtered_values.gyro_x;
		transmit_data.gyro_y_filtered = lsm6dsl_filtered_values.gyro_y;
		transmit_data.gyro_z_filtered = lsm6dsl_filtered_values.gyro_z;

		transmit_data.mag_x_filtered = lis3mdl_filtered_values.x;
		transmit_data.mag_y_filtered = lis3mdl_filtered_values.y;
		transmit_data.mag_z_filtered = lis3mdl_filtered_values.z;

		HAL_UART_Transmit_DMA(&huart1, (const uint8_t *)&transmit_data, sizeof(transmit_data));
		__HAL_DMA_DISABLE_IT(huart1.hdmatx, DMA_IT_HT );
	  }
  /* USER CODE END Data_Transmit_Task */
}

void Data_Filter_Task(void *argument)
{
  for (;;)
  {
	#ifdef DEBUG
	debug_count_main++;
	#endif
    uint32_t flags = osThreadFlagsWait(RAW_IMU_DATA_READY_FLAG | RAW_MAG_DATA_READY_FLAG, osFlagsWaitAny, osWaitForever);

    if (flags & RAW_IMU_DATA_READY_FLAG)
    {
      // Filter nur aufrufen, globale Variable wird direkt aktualisiert
      LSM6DSL_Filter_Update(lsm6dsl_values);
    }

    if (flags & RAW_MAG_DATA_READY_FLAG)
    {
      // Filter nur aufrufen, globale Variable wird direkt aktualisiert
      LIS3MDL_Filter_Update(lis3mdl_values);
    }

    osThreadFlagsSet(DataTransmitTasHandle, FILTERED_DATA_READY_FLAG);
  }
}

void HAL_TIM_PeriodElapsedCallback(TIM_HandleTypeDef *htim)
{
  if (htim->Instance == TIM17)
  {
    HAL_IncTick();
  }
}

void Error_Handler(void)
{
  /* USER CODE BEGIN Error_Handler_Debug */
  /* User can add his own implementation to report the HAL error return state
   */
  __disable_irq();
  while (1) {
  }
  /* USER CODE END Error_Handler_Debug */
}
#ifdef USE_FULL_ASSERT
/**
  * @brief  Reports the name of the source file and the source line number
  *         where the assert_param error has occurred.
  * @param  file: pointer to the source file name
  * @param  line: assert_param error line source number
  * @retval None
  */
void assert_failed(uint8_t *file, uint32_t line)
{
  /* USER CODE BEGIN 6 */
  /* User can add his own implementation to report the file name and line
     number,
     ex: printf("Wrong parameters value: file %s on line %d\r\n", file, line)
   */
  /* USER CODE END 6 */
}
#endif /* USE_FULL_ASSERT */
